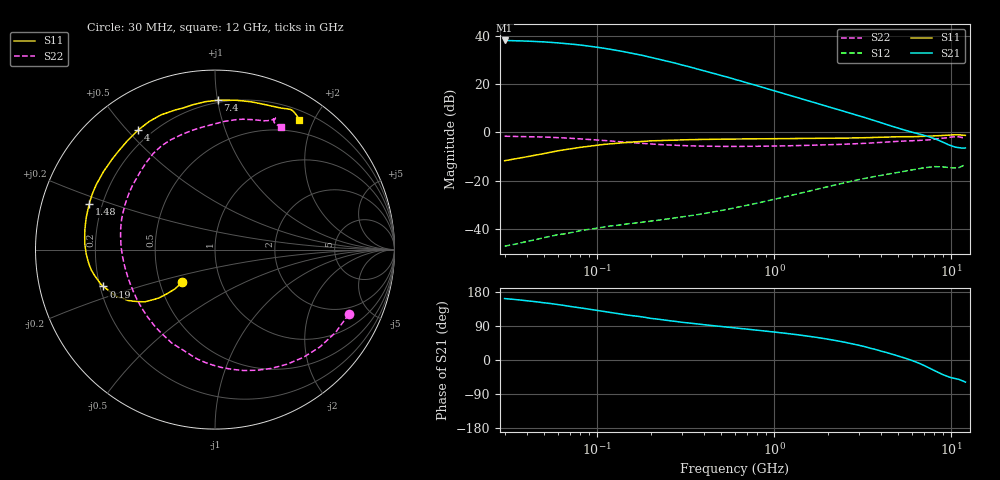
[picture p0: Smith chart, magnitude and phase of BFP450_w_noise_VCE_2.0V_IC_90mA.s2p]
! Infineon Technologies  Discrete & RF Semiconductors
! BFP450
! VCE =  2.0 V,  IC =  90 mA
! Common Emitter S-Parameters:  Nov 2015
# GHz  S  MA  R  50
!  f  S11  S21  S12  S22
! GHz  MAG  ANG  MAG  ANG  MAG  ANG  MAG  ANG
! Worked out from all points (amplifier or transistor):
!   239 points, 30 MHz to 12 GHz, reference 50 ohm
!   highest |S21| = 38.0 dB at 30 MHz (marker M1)
!   |S21| within 3 dB of that: start of sweep to 104.3 MHz
!   unconditionally stable (mu >= 1): 902.3 MHz to end of sweep
!   at 300 MHz: K = 0.70, MSG = 31.5 dB, |S12| = -35.0 dB
!   at 1.88 GHz: K = 1.09, MAG = 15.3 dB, |S12| = -23.0 dB
!   at 12 GHz: K = 1.08, MAG = 1.7 dB, |S12| = -13.4 dB
!   lowest NFmin = 2.02 dB at 450 MHz
!   S11 on the Smith chart (normalised r, x): 30 MHz: 0.65, -0.25; 190 MHz: 0.21, -0.15; 1.48 GHz: 0.15, +0.17; 4 GHz: 0.15, +0.54; 7.4 GHz: 0.19, +1.00; 12 GHz: 0.32, +1.79
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0.03  0.2579 -135.3  79.33 162.1  0.0044 81.8  0.8278 -25.8
0.04  0.3111 -135.5  76.96 156.4  0.0055 75.4  0.8149 -34.5
0.05  0.3621 -137.3  74.09 151.0  0.0066 71.3  0.7974 -42.9
0.06  0.4136 -139.3  70.68 146.4  0.0076 68.2  0.7764 -50.6
0.07  0.4521 -141.5  67.21 141.5  0.0083 65.9  0.7543 -57.8
0.085  0.5005 -144.5  62.2 135.9  0.0095 61.4  0.7214 -67.6
0.1  0.5404 -147.9  57.42 130.8  0.0104 59.7  0.6929 -76.5
0.12  0.5793 -152.0  51.71 125.1  0.0116 56.9  0.6582 -86.7
0.15  0.6214 -156.7  44.51 118.2  0.0128 54.3  0.6178 -99.2
0.19  0.6544 -161.7  37.18 111.9  0.0142 53.2  0.5784 -111.7
0.2  0.6634 -162.9  35.44 109.9  0.0145 53.0  0.5732 -115.0
0.24  0.6795 -166.4  30.5 105.4  0.0158 53.2  0.5503 -124.1
0.3  0.6985 -170.6  24.74 99.6  0.0177 54.1  0.531 -135.1
0.36  0.7076 -173.8  20.83 95.6  0.0195 55.0  0.52 -142.9
0.6  0.7257 177.7  12.4 84.5  0.0273 58.7  0.5095 -161.9
0.9  0.734 170.7  8.076 76.1  0.0375 59.9  0.5156 -174.5
1.48  0.7457 160.0  4.724 64.2  0.0575 57.0  0.534 170.1
1.64  0.7485 157.4  4.232 61.3  0.063 55.6  0.5393 166.8
4  0.7923 122.6  1.575 23.5  0.1284 28.9  0.6181 128.4
4.5  0.8026 117.1  1.372 17.0  0.1382 23.8  0.6366 122.7
7.4  0.8319 89.0  0.817 -19.8  0.189 -7.0  0.6934 92.6
12  0.8616 57.1  0.473 -58.2  0.2128 -41.3  0.777 61.8
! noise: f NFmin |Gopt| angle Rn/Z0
0.45  2.02  0.62  -172  0.07
0.9  2.06  0.65  -166  0.08
1.9  2.17  0.67  -150  0.14
2.4  2.26  0.67  -140  0.21
